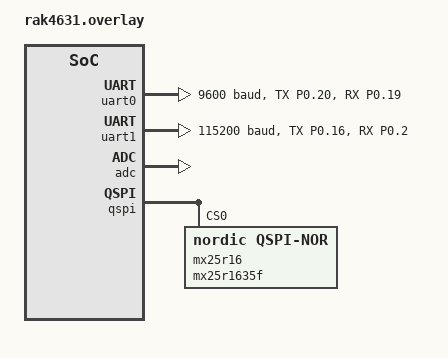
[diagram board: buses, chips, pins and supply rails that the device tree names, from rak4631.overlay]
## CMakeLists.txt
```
cmake_minimum_required(VERSION 3.20.0)
find_package(Zephyr REQUIRED HINTS $ENV{ZEPHYR_BASE})
project(kc_firmware)

target_sources(app PRIVATE
    src/main.c
    src/modbus.c
    src/rs485.c
    src/registers.c
    src/drivers.c
    src/lora.c
    src/sensor.c
    src/sensor2.c
)
```

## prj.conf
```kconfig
CONFIG_GPIO=y
CONFIG_ADC=y
CONFIG_SERIAL=y
CONFIG_CONSOLE=y
CONFIG_UART_CONSOLE=y
CONFIG_UART_INTERRUPT_DRIVEN=y
CONFIG_PRINTK=y

CONFIG_FLASH=y
CONFIG_NORDIC_QSPI_NOR=y
CONFIG_NORDIC_QSPI_NOR_FLASH_LAYOUT_PAGE_SIZE=4096
```

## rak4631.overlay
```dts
/*
 * KC Firmware - RAK4631 Overlay
 * Debug UART (uart1): TX=P0.16 (RX→P0.02 dummy, P0.15=LED_EN)
 * RS485 (uart0): TX=P0.20, RX=P0.19, DE=P1.04, RE#=P1.03
 * QSPI Flash: MX25R1635F
 */

/ {
	chosen {
		zephyr,console = &uart1;
	};
};

&uart0 {
	compatible = "nordic,nrf-uarte";
	status = "okay";
	current-speed = <9600>;
	pinctrl-0 = <&uart0_default>;
	pinctrl-1 = <&uart0_sleep>;
	pinctrl-names = "default", "sleep";
};

&uart1 {
	compatible = "nordic,nrf-uarte";
	status = "okay";
	current-speed = <115200>;
	pinctrl-0 = <&uart1_default>;
	pinctrl-1 = <&uart1_sleep>;
	pinctrl-names = "default", "sleep";
};

&adc {
	status = "okay";
};

&qspi {
	status = "okay";
	pinctrl-0 = <&qspi_default>;
	pinctrl-1 = <&qspi_sleep>;
	pinctrl-names = "default", "sleep";

	mx25r16: mx25r1635f@0 {
		compatible = "nordic,qspi-nor";
		reg = <0>;
		sck-frequency = <8000000>;
		jedec-id = [c2 28 15];
		size = <16777216>;
		has-dpd;
		t-enter-dpd = <10000>;
		t-exit-dpd = <35000>;
	};
};

&pinctrl {
	uart0_default: uart0_default {
		group1 {
			psels = <NRF_PSEL(UART_TX, 0, 20)>;
		};
		group2 {
			psels = <NRF_PSEL(UART_RX, 0, 19)>;
			bias-pull-up;
		};
	};

	uart0_sleep: uart0_sleep {
		group1 {
			psels = <NRF_PSEL(UART_TX, 0, 20)>,
				<NRF_PSEL(UART_RX, 0, 19)>;
			low-power-enable;
		};
	};

	uart1_default: uart1_default {
		group1 {
			psels = <NRF_PSEL(UART_TX, 0, 16)>;
		};
		group2 {
			psels = <NRF_PSEL(UART_RX, 0, 2)>;
			bias-pull-up;
		};
	};

	uart1_sleep: uart1_sleep {
		group1 {
			psels = <NRF_PSEL(UART_TX, 0, 16)>,
				<NRF_PSEL(UART_RX, 0, 2)>;
			low-power-enable;
		};
	};
};
```

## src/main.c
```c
#include <zephyr/kernel.h>
#include "rs485.h"
#include "modbus.h"
#include "registers.h"
#include "drivers.h"
#include "lora.h"
#include "sensor.h"
#include "sensor2.h"

int main(void)
{
	uint8_t frame[MODBUS_MAX_FRAME];
	int len;

	printk("\n========================================\n");
	printk("  KC Certification Firmware v1.0\n");
	printk("  REVITA_LINK_v1 / RAK4631\n");
	printk("========================================\n");
	printk("  RS485: 9600 bps (Modbus RTU Slave)\n");
	printk("  LoRa:  922.1 MHz (End Device RX)\n");
	printk("  Slave Address: 0x10\n");
	printk("  Sensor Address: 0x01 (Temp/Humi)\n");
	printk("========================================\n\n");

	/* Init drivers */
	if (drv_init() < 0) {
		printk("Driver init failed\n");
		return -1;
	}

	/* Init registers */
	reg_init();

	/* Init RS485 */
	if (rs485_init() < 0) {
		printk("RS485 init failed\n");
		return -1;
	}

	/* 12V 센서 전원 ON */
	drv_12v_set(true);
	printk("12V supply ON (sensor power)\n");
	k_sleep(K_SECONDS(3));  /* 센서 안정화 3초 */

	/* Init Sensors */
	sensor_init();
	sensor2_init();

	/* Init LoRa */
	if (lora_module_init() < 0) {
		printk("LoRa init failed (continuing without LoRa)\n");
	} else {
		/* Auto-start RX */
		lora_rx_start();
	}

	/* Initial GPIO read for debug */
	printk("BTN(P0.05) initial: %d\n", drv_btn_read());
	printk("VIB(P0.21) initial: %d\n", drv_vib_read());
	printk("\nReady. Waiting for Modbus commands...\n\n");

	uint32_t loop_count = 0;
	int64_t next_sensor_read = k_uptime_get() + 2000;
	int64_t last_host_cmd = 0;  /* 마지막 Host 명령 시각 */

	while (1) {
		/* Receive Modbus frame (100ms timeout) */
		len = rs485_receive(frame, sizeof(frame), 100);
		if (len > 0) {
			modbus_process_frame(frame, len);
			last_host_cmd = k_uptime_get();
			/* Host 명령 후 센서 읽기 지연 (충돌 방지) */
			next_sensor_read = last_host_cmd + 2000;
		}

		/* Update sensor readings & timers */
		reg_update_sensors();

		/* Update LoRa status */
		reg_update_lora();

		/* 주기적 외부 센서 읽기
		 * 조건: Host 명령 후 2초 이상 경과 시에만 */
		int64_t now = k_uptime_get();
		if (now >= next_sensor_read &&
		    (now - last_host_cmd) >= 2000) {
			sensor_read();
			reg_update_sensor();
			k_sleep(K_MSEC(100));  /* 버스 안정화 */
			sensor2_read();
			reg_update_sensor2();
			next_sensor_read = now + SENSOR_READ_INTERVAL_MS;
		}

		/* LED blink tick (~100ms) */
		drv_led_tick();

		/* 10초마다 상태 출력 (디버그) */
		loop_count++;
		if (loop_count % 100 == 0) {
			const struct sensor_data *sd = sensor_get_data();
			printk("[DBG] BTN=%d VIB=%d | Soil: %d.%d%% %d.%dC EC=%d (st=%d)\n",
			       drv_btn_read(), drv_vib_read(),
			       sd->mois_raw / 10, sd->mois_raw % 10,
			       sd->temp_raw / 10,
			       (sd->temp_raw < 0 ? -sd->temp_raw : sd->temp_raw) % 10,
			       sd->ec_raw, sd->status);
		}
	}

	return 0;
}
```

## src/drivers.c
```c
#include "drivers.h"
#include <zephyr/kernel.h>
#include <zephyr/device.h>
#include <zephyr/drivers/gpio.h>
#include <zephyr/drivers/adc.h>
#include <zephyr/drivers/flash.h>
#include <string.h>

/* Pin definitions */
#define PIN_12V_EN      17  /* P0.17 */
#define PIN_BUZZER_EN   24  /* P0.24 */
#define PIN_LED_EN      15  /* P0.15 */
#define PIN_BTN          5  /* P0.05 */
#define PIN_VIB_SENSE   21  /* P0.21 */

/* X axis motor (gpio0) */
#define PIN_X_EN_A      14  /* P0.14 */
#define PIN_X_EN_B      13  /* P0.13 */

/* Y axis motor */
#define PIN_Y_EN_A      25  /* P0.25 - gpio0 */
#define PIN_Y_EN_B       1  /* P1.01 - gpio1 */

/* ADC */
#define ADC_CHANNEL      7  /* AIN7 = P0.31 */

static const struct device *gpio0;
static const struct device *gpio1;
static const struct device *adc_dev;
static const struct device *flash_dev;

static uint16_t led_mode;
static uint8_t led_blink_counter;

/* ADC config */
static int16_t adc_buffer;
static struct adc_channel_cfg adc_cfg = {
	.gain = ADC_GAIN_1_6,
	.reference = ADC_REF_INTERNAL,
	.acquisition_time = ADC_ACQ_TIME(ADC_ACQ_TIME_MICROSECONDS, 40),
	.channel_id = ADC_CHANNEL,
	.input_positive = SAADC_CH_PSELP_PSELP_AnalogInput7,
};
static struct adc_sequence adc_seq = {
	.channels = BIT(ADC_CHANNEL),
	.buffer = &adc_buffer,
	.buffer_size = sizeof(adc_buffer),
	.resolution = 12,
};

int drv_init(void)
{
	/* GPIO0 */
	gpio0 = DEVICE_DT_GET(DT_NODELABEL(gpio0));
	if (!device_is_ready(gpio0)) {
		printk("ERROR: gpio0 not ready\n");
		return -1;
	}

	/* GPIO1 */
	gpio1 = DEVICE_DT_GET(DT_NODELABEL(gpio1));
	if (!device_is_ready(gpio1)) {
		printk("ERROR: gpio1 not ready\n");
		return -1;
	}

	/* Output pins */
	gpio_pin_configure(gpio0, PIN_12V_EN, GPIO_OUTPUT_LOW);
	gpio_pin_configure(gpio0, PIN_BUZZER_EN, GPIO_OUTPUT_LOW);
	gpio_pin_configure(gpio0, PIN_LED_EN, GPIO_OUTPUT_LOW);

	/* Motor X */
	gpio_pin_configure(gpio0, PIN_X_EN_A, GPIO_OUTPUT_LOW);
	gpio_pin_configure(gpio0, PIN_X_EN_B, GPIO_OUTPUT_LOW);

	/* Motor Y */
	gpio_pin_configure(gpio0, PIN_Y_EN_A, GPIO_OUTPUT_LOW);
	gpio_pin_configure(gpio1, PIN_Y_EN_B, GPIO_OUTPUT_LOW);

	/* Input pins */
	gpio_pin_configure(gpio0, PIN_BTN, GPIO_INPUT | GPIO_PULL_DOWN);
	gpio_pin_configure(gpio0, PIN_VIB_SENSE, GPIO_INPUT | GPIO_PULL_UP);

	/* ADC */
	adc_dev = DEVICE_DT_GET(DT_NODELABEL(adc));
	if (!device_is_ready(adc_dev)) {
		printk("WARN: ADC not ready\n");
		adc_dev = NULL;
	} else {
		adc_channel_setup(adc_dev, &adc_cfg);
	}

	/* Flash */
	flash_dev = DEVICE_DT_GET(DT_NODELABEL(mx25r16));
	if (!device_is_ready(flash_dev)) {
		printk("WARN: Flash not ready\n");
		flash_dev = NULL;
	}

	printk("Drivers initialized\n");
	return 0;
}

void drv_12v_set(bool on)
{
	gpio_pin_set_raw(gpio0, PIN_12V_EN, on ? 1 : 0);
}

void drv_buzzer_set(bool on)
{
	gpio_pin_set_raw(gpio0, PIN_BUZZER_EN, on ? 1 : 0);
}

void drv_led_set(uint16_t mode)
{
	led_mode = mode;
	led_blink_counter = 0;

	switch (mode) {
	case 0:
		gpio_pin_set_raw(gpio0, PIN_LED_EN, 0);
		break;
	case 1:
		gpio_pin_set_raw(gpio0, PIN_LED_EN, 1);
		break;
	default:
		break;
	}
}

void drv_led_tick(void)
{
	if (led_mode < 2) {
		return;
	}

	led_blink_counter++;

	if (led_mode == 2) {
		/* 1박자 점멸: 500ms ON / 500ms OFF */
		if (led_blink_counter >= 5) {
			gpio_pin_toggle(gpio0, PIN_LED_EN);
			led_blink_counter = 0;
		}
	} else if (led_mode == 3) {
		/* 2박자 점멸: 200ms ON / 200ms OFF / 200ms ON / 600ms OFF */
		uint8_t pos = led_blink_counter % 12;
		if (pos == 0) {
			gpio_pin_set_raw(gpio0, PIN_LED_EN, 1);
		} else if (pos == 2) {
			gpio_pin_set_raw(gpio0, PIN_LED_EN, 0);
		} else if (pos == 4) {
			gpio_pin_set_raw(gpio0, PIN_LED_EN, 1);
		} else if (pos == 6) {
			gpio_pin_set_raw(gpio0, PIN_LED_EN, 0);
		}
	}
}

void drv_valve_cw(bool is_x)
{
	if (is_x) {
		gpio_pin_set_raw(gpio0, PIN_X_EN_B, 0);
		gpio_pin_set_raw(gpio0, PIN_X_EN_A, 1);
	} else {
		gpio_pin_set_raw(gpio1, PIN_Y_EN_B, 0);
		gpio_pin_set_raw(gpio0, PIN_Y_EN_A, 1);
	}
}

void drv_valve_ccw(bool is_x)
{
	if (is_x) {
		gpio_pin_set_raw(gpio0, PIN_X_EN_A, 0);
		gpio_pin_set_raw(gpio0, PIN_X_EN_B, 1);
	} else {
		gpio_pin_set_raw(gpio0, PIN_Y_EN_A, 0);
		gpio_pin_set_raw(gpio1, PIN_Y_EN_B, 1);
	}
}

void drv_valve_stop(bool is_x)
{
	if (is_x) {
		gpio_pin_set_raw(gpio0, PIN_X_EN_A, 0);
		gpio_pin_set_raw(gpio0, PIN_X_EN_B, 0);
	} else {
		gpio_pin_set_raw(gpio0, PIN_Y_EN_A, 0);
		gpio_pin_set_raw(gpio1, PIN_Y_EN_B, 0);
	}
}

int drv_btn_read(void)
{
	return gpio_pin_get_raw(gpio0, PIN_BTN);
}

int drv_vib_read(void)
{
	/* Active low: 진동 시 LOW */
	return gpio_pin_get_raw(gpio0, PIN_VIB_SENSE) ? 0 : 1;
}

int32_t drv_adc_read_mv(void)
{
	if (adc_dev == NULL) {
		return -1;
	}

	int ret = adc_read(adc_dev, &adc_seq);
	if (ret < 0) {
		return -1;
	}

	/* Gain 1/6, Ref 0.6V → full scale 3.6V, × 2 for voltage divider */
	int32_t adc_mv = (adc_buffer * 3600) / 4096;
	return adc_mv * 2;
}

int drv_flash_self_test(void)
{
	if (flash_dev == NULL) {
		return -1;
	}

	uint8_t write_buf[256];
	uint8_t read_buf[256];
	uint32_t offset = 0x1FF000; /* Last 4KB sector */

	for (int i = 0; i < 256; i++) {
		write_buf[i] = (uint8_t)(i ^ 0xA5);
	}

	if (flash_erase(flash_dev, offset, 4096) < 0) {
		return -1;
	}
	if (flash_write(flash_dev, offset, write_buf, 256) < 0) {
		return -1;
	}
	if (flash_read(flash_dev, offset, read_buf, 256) < 0) {
		return -1;
	}
	if (memcmp(write_buf, read_buf, 256) != 0) {
		return -1;
	}

	flash_erase(flash_dev, offset, 4096);
	return 0;
}
```

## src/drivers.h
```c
#ifndef DRIVERS_H
#define DRIVERS_H

#include <stdint.h>
#include <stdbool.h>

int drv_init(void);

/* GPIO Output */
void drv_12v_set(bool on);
void drv_buzzer_set(bool on);
void drv_led_set(uint16_t mode);  /* 0=OFF, 1=ON, 2=blink1, 3=blink2 */
void drv_led_tick(void);          /* call every 100ms for blink */

/* Valve */
void drv_valve_cw(bool is_x);    /* Open */
void drv_valve_ccw(bool is_x);   /* Close */
void drv_valve_stop(bool is_x);

/* GPIO Input */
int drv_btn_read(void);
int drv_vib_read(void);

/* ADC */
int32_t drv_adc_read_mv(void);   /* returns battery mV or -1 */

/* Flash */
int drv_flash_self_test(void);    /* returns 0=PASS, -1=FAIL */

#endif
```

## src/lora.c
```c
/*
 * LoRa End Device - RX module
 * Receives encrypted 16-byte frames from Gateway
 */

#include "lora.h"
#include <zephyr/kernel.h>
#include <zephyr/device.h>
#include <zephyr/drivers/lora.h>
#include <hal/nrf_ecb.h>
#include <string.h>

/* AES-128 Key: "REVITA_LORA_KEY1" */
static const uint8_t aes_key[16] = {
	0x52, 0x45, 0x56, 0x49, 0x54, 0x41, 0x5F, 0x4C,
	0x4F, 0x52, 0x41, 0x5F, 0x4B, 0x45, 0x59, 0x31
};

/* AES Nonce: "REVITA_NONCE_001" */
static const uint8_t aes_nonce[16] = {
	0x52, 0x45, 0x56, 0x49, 0x54, 0x41, 0x5F, 0x4E,
	0x4F, 0x4E, 0x43, 0x45, 0x5F, 0x30, 0x30, 0x31
};

/* ECB data block (must be aligned) */
static struct {
	uint8_t key[16];
	uint8_t cleartext[16];
	uint8_t ciphertext[16];
} __attribute__((aligned(4))) ecb_data;

static uint8_t keystream[16];

/* LoRa device */
static const struct device *lora_dev;
static struct lora_status status;
static volatile bool rx_running;

/* RX thread */
#define RX_STACK_SIZE 2048
#define RX_PRIORITY   7
static K_THREAD_STACK_DEFINE(rx_stack, RX_STACK_SIZE);
static struct k_thread rx_thread_data;
static k_tid_t rx_tid;

/* CRC-16 (same polynomial as Modbus: 0xA001) */
static uint16_t crc16(const uint8_t *buf, uint16_t len)
{
	uint16_t crc = 0xFFFF;
	for (uint16_t i = 0; i < len; i++) {
		crc ^= buf[i];
		for (int j = 0; j < 8; j++) {
			if (crc & 1) {
				crc = (crc >> 1) ^ 0xA001;
			} else {
				crc >>= 1;
			}
		}
	}
	return crc;
}

/* Generate AES keystream using nRF ECB hardware */
static void generate_keystream(void)
{
	memcpy(ecb_data.key, aes_key, 16);
	memcpy(ecb_data.cleartext, aes_nonce, 16);

	NRF_ECB->ECBDATAPTR = (uint32_t)&ecb_data;
	NRF_ECB->EVENTS_ENDECB = 0;
	NRF_ECB->EVENTS_ERRORECB = 0;
	NRF_ECB->TASKS_STARTECB = 1;

	while (!NRF_ECB->EVENTS_ENDECB && !NRF_ECB->EVENTS_ERRORECB) {
		/* wait */
	}

	memcpy(keystream, ecb_data.ciphertext, 16);
}

/* XOR decrypt (same as encrypt - symmetric) */
static void crypto_xor(uint8_t *data, uint8_t len)
{
	for (int i = 0; i < len && i < 16; i++) {
		data[i] ^= keystream[i];
	}
}

/* Parse and validate decrypted frame */
static bool parse_frame(const uint8_t *frame)
{
	if (frame[0] != LORA_FRAME_MAGIC) {
		return false;
	}
	if (frame[1] != LORA_FRAME_TYPE_CNT) {
		return false;
	}

	/* Verify app CRC-16 (over bytes 0-11) */
	uint16_t rx_crc = ((uint16_t)frame[12] << 8) | frame[13];
	uint16_t calc_crc = crc16(frame, 12);
	if (rx_crc != calc_crc) {
		return false;
	}

	/* Extract fields */
	status.last_seq = frame[2];
	status.last_count = ((uint32_t)frame[4] << 24) |
			    ((uint32_t)frame[5] << 16) |
			    ((uint32_t)frame[6] << 8) |
			    frame[7];
	status.last_uptime = ((uint32_t)frame[8] << 24) |
			     ((uint32_t)frame[9] << 16) |
			     ((uint32_t)frame[10] << 8) |
			     frame[11];

	return true;
}

/* RX thread function */
static void rx_thread_func(void *p1, void *p2, void *p3)
{
	uint8_t buf[LORA_PAYLOAD_SIZE];
	int16_t rssi;
	int8_t snr;
	int ret;

	printk("[LoRa] RX thread started\n");

	while (rx_running) {
		ret = lora_recv(lora_dev, buf, LORA_PAYLOAD_SIZE,
				K_MSEC(3000), &rssi, &snr);
		if (!rx_running) {
			break;
		}

		if (ret < 0) {
			/* Timeout or error - just retry */
			continue;
		}

		if (ret != LORA_PAYLOAD_SIZE) {
			printk("[LoRa] RX bad len=%d\n", ret);
			status.rx_err_cnt++;
			continue;
		}

		/* Update RF stats */
		status.rssi = rssi;
		status.snr = snr * 10;  /* ×10 for register */

		/* Decrypt */
		crypto_xor(buf, LORA_PAYLOAD_SIZE);

		/* Parse and validate */
		if (parse_frame(buf)) {
			status.rx_cnt++;
			printk("[LoRa] RX #%u seq=%u count=%u uptime=%us RSSI=%d SNR=%d\n",
			       status.rx_cnt, status.last_seq,
			       status.last_count, status.last_uptime,
			       rssi, snr);
		} else {
			status.rx_err_cnt++;
			printk("[LoRa] RX CRC/frame error (RSSI=%d)\n", rssi);
		}
	}

	printk("[LoRa] RX thread stopped\n");
}

int lora_module_init(void)
{
	lora_dev = DEVICE_DT_GET(DT_ALIAS(lora0));
	if (!device_is_ready(lora_dev)) {
		printk("[LoRa] Device not ready!\n");
		return -1;
	}

	/* Generate AES keystream */
	generate_keystream();

	memset(&status, 0, sizeof(status));
	status.freq = 922;  /* 922.1 MHz */
	status.power = LORA_POWER_DEFAULT;

	printk("[LoRa] Module init OK (SX1262)\n");
	return 0;
}

int lora_rx_start(void)
{
	if (rx_running) {
		return 0;
	}

	struct lora_modem_config config = {
		.frequency = LORA_FREQ_DEFAULT,
		.bandwidth = BW_125_KHZ,
		.datarate = LORA_SF_DEFAULT,
		.coding_rate = CR_4_6,
		.preamble_len = LORA_PREAMBLE_LEN,
		.tx_power = LORA_POWER_DEFAULT,
		.tx = false,
		.iq_inverted = false,
		.public_network = false,
	};

	int ret = lora_config(lora_dev, &config);
	if (ret < 0) {
		printk("[LoRa] Config failed: %d\n", ret);
		return ret;
	}

	rx_running = true;
	status.state = 1;  /* RX_LISTENING */

	rx_tid = k_thread_create(&rx_thread_data, rx_stack,
				 K_THREAD_STACK_SIZEOF(rx_stack),
				 rx_thread_func, NULL, NULL, NULL,
				 RX_PRIORITY, 0, K_NO_WAIT);

	printk("[LoRa] RX started (922.1 MHz, SF9, BW125, CR4/6)\n");
	return 0;
}

int lora_rx_stop(void)
{
	if (!rx_running) {
		return 0;
	}

	rx_running = false;
	k_thread_join(&rx_thread_data, K_SECONDS(5));
	status.state = 0;  /* IDLE */

	printk("[LoRa] RX stopped\n");
	return 0;
}

const struct lora_status *lora_get_status(void)
{
	return &status;
}
```

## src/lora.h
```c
#ifndef LORA_H
#define LORA_H

#include <stdint.h>
#include <stdbool.h>

/*
 * LoRa Star Topology - End Device (RX)
 *
 * Frame Structure (16 bytes over-the-air):
 * ┌─────────────────────────────────────────────────────┐
 * │ LoRa PHY: Preamble(8sym) + Header + FEC(CR4/6)     │
 * │ ┌─────────────────────────────────────────────────┐ │
 * │ │ Encrypted Application Payload (16 bytes)        │ │
 * │ │  [0]    Magic: 0xAA                             │ │
 * │ │  [1]    Type:  0x01 (count broadcast)           │ │
 * │ │  [2]    Seq:   0-255                            │ │
 * │ │  [3]    Flags: 0x01 (encrypted)                 │ │
 * │ │  [4-7]  Count (uint32 BE)                       │ │
 * │ │  [8-11] Uptime seconds (uint32 BE)              │ │
 * │ │  [12-13] CRC-16 (bytes 0-11)                    │ │
 * │ │  [14-15] Padding 0x0000                         │ │
 * │ └─────────────────────────────────────────────────┘ │
 * │ LoRa PHY CRC (2 bytes, HW generated)               │
 * └─────────────────────────────────────────────────────┘
 *
 * Encryption: AES-128-CTR-like (nRF52840 ECB HW)
 *   Key = "REVITA_LORA_KEY1" (16 bytes)
 *   Keystream = AES-ECB(Key, Nonce)
 *   Cipher = Plain XOR Keystream
 *
 * Error Protection (3 layers):
 *   1. LoRa FEC: Coding Rate 4/6 (50% redundancy)
 *   2. LoRa HW CRC: 16-bit at PHY layer
 *   3. App CRC-16: integrity after decryption
 */

#define LORA_PAYLOAD_SIZE    16
#define LORA_FRAME_MAGIC     0xAA
#define LORA_FRAME_TYPE_CNT  0x01
#define LORA_FLAG_ENCRYPTED  0x01

/* LoRa parameters */
#define LORA_FREQ_DEFAULT    922100000  /* 922.1 MHz */
#define LORA_BW_DEFAULT      0         /* 125 kHz */
#define LORA_SF_DEFAULT      9
#define LORA_CR_DEFAULT      2         /* 4/6 */
#define LORA_POWER_DEFAULT   14        /* dBm */
#define LORA_PREAMBLE_LEN    8

/* LoRa state */
struct lora_status {
	uint16_t state;       /* 0=IDLE, 1=RX_LISTENING */
	uint16_t freq;        /* MHz code (e.g. 922) */
	int16_t  power;       /* dBm */
	int16_t  rssi;        /* last RSSI dBm */
	int16_t  snr;         /* last SNR x10 */
	uint16_t tx_cnt;
	uint16_t rx_cnt;
	uint16_t rx_err_cnt;  /* CRC fail / decrypt fail */
	uint32_t last_count;  /* received count value */
	uint8_t  last_seq;
	uint32_t last_uptime; /* received uptime seconds */
};

int lora_module_init(void);
int lora_rx_start(void);
int lora_rx_stop(void);
const struct lora_status *lora_get_status(void);

#endif
```

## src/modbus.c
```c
#include "modbus.h"
#include "rs485.h"
#include "registers.h"
#include <zephyr/kernel.h>
#include <string.h>

uint16_t modbus_crc16(const uint8_t *data, uint16_t len)
{
	uint16_t crc = 0xFFFF;
	for (uint16_t i = 0; i < len; i++) {
		crc ^= data[i];
		for (uint8_t j = 0; j < 8; j++) {
			if (crc & 0x0001) {
				crc = (crc >> 1) ^ 0xA001;
			} else {
				crc >>= 1;
			}
		}
	}
	return crc;
}

bool modbus_check_crc(const uint8_t *frame, uint16_t len)
{
	if (len < 4) {
		return false;
	}
	uint16_t calc = modbus_crc16(frame, len - 2);
	uint16_t recv = frame[len - 2] | (frame[len - 1] << 8);
	return calc == recv;
}

void modbus_append_crc(uint8_t *frame, uint16_t len)
{
	uint16_t crc = modbus_crc16(frame, len);
	frame[len] = crc & 0xFF;
	frame[len + 1] = (crc >> 8) & 0xFF;
}

static void send_exception(uint8_t func, uint8_t exception)
{
	uint8_t resp[5];
	resp[0] = MODBUS_SLAVE_ADDR;
	resp[1] = func | 0x80;
	resp[2] = exception;
	modbus_append_crc(resp, 3);
	rs485_send(resp, 5);
	printk("  TX exception: FC=0x%02X EX=0x%02X\n", func, exception);
}

static void handle_read_holding(const uint8_t *frame, uint16_t len)
{
	if (len < 6) {
		return;
	}

	uint16_t start = (frame[2] << 8) | frame[3];
	uint16_t count = (frame[4] << 8) | frame[5];

	if (count == 0 || count > 125) {
		send_exception(FC_READ_HOLDING, EX_ILLEGAL_VALUE);
		return;
	}

	uint8_t resp[5 + 250]; /* header + data + CRC */
	resp[0] = MODBUS_SLAVE_ADDR;
	resp[1] = FC_READ_HOLDING;
	resp[2] = count * 2;

	for (uint16_t i = 0; i < count; i++) {
		int32_t val = reg_read(start + i);
		if (val < 0) {
			send_exception(FC_READ_HOLDING, EX_ILLEGAL_ADDR);
			return;
		}
		resp[3 + i * 2] = (val >> 8) & 0xFF;
		resp[3 + i * 2 + 1] = val & 0xFF;
	}

	uint16_t resp_len = 3 + count * 2;
	modbus_append_crc(resp, resp_len);
	rs485_send(resp, resp_len + 2);

	printk("  TX read resp: start=0x%04X count=%d\n", start, count);
}

static void handle_write_single(const uint8_t *frame, uint16_t len)
{
	if (len < 6) {
		return;
	}

	uint16_t addr = (frame[2] << 8) | frame[3];
	uint16_t value = (frame[4] << 8) | frame[5];

	int ret = reg_write(addr, value);
	if (ret == -1) {
		send_exception(FC_WRITE_SINGLE, EX_ILLEGAL_ADDR);
		return;
	}
	if (ret == -2) {
		send_exception(FC_WRITE_SINGLE, EX_ILLEGAL_VALUE);
		return;
	}

	/* Echo response */
	uint8_t resp[8];
	memcpy(resp, frame, 6);
	resp[0] = MODBUS_SLAVE_ADDR;
	modbus_append_crc(resp, 6);
	rs485_send(resp, 8);

	printk("  TX write resp: addr=0x%04X val=0x%04X\n", addr, value);
}

static void handle_write_multiple(const uint8_t *frame, uint16_t len)
{
	uint16_t start = (frame[2] << 8) | frame[3];
	uint16_t count = (frame[4] << 8) | frame[5];
	uint8_t byte_count = frame[6];

	if (count == 0 || count > 123 || byte_count != count * 2) {
		send_exception(FC_WRITE_MULTIPLE, EX_ILLEGAL_VALUE);
		return;
	}

	if (len < (uint16_t)(7 + byte_count)) {
		return;
	}

	for (uint16_t i = 0; i < count; i++) {
		uint16_t value = (frame[7 + i * 2] << 8) | frame[7 + i * 2 + 1];
		int ret = reg_write(start + i, value);
		if (ret == -1) {
			send_exception(FC_WRITE_MULTIPLE, EX_ILLEGAL_ADDR);
			return;
		}
		if (ret == -2) {
			send_exception(FC_WRITE_MULTIPLE, EX_ILLEGAL_VALUE);
			return;
		}
	}

	/* Response: addr, func, start, count */
	uint8_t resp[8];
	resp[0] = MODBUS_SLAVE_ADDR;
	resp[1] = FC_WRITE_MULTIPLE;
	resp[2] = (start >> 8) & 0xFF;
	resp[3] = start & 0xFF;
	resp[4] = (count >> 8) & 0xFF;
	resp[5] = count & 0xFF;
	modbus_append_crc(resp, 6);
	rs485_send(resp, 8);

	printk("  TX write_multi resp: start=0x%04X count=%d\n", start, count);
}

void modbus_process_frame(const uint8_t *frame, uint16_t len)
{
	/* Print RX frame */
	printk("RX[%d]:", len);
	for (int i = 0; i < len && i < 32; i++) {
		printk(" %02X", frame[i]);
	}
	if (len > 32) {
		printk(" ...");
	}
	printk("\n");

	/* Check minimum length */
	if (len < 4) {
		printk("  Frame too short\n");
		return;
	}

	/* Check slave address */
	if (frame[0] != MODBUS_SLAVE_ADDR) {
		printk("  Wrong addr: 0x%02X\n", frame[0]);
		return;
	}

	/* Check CRC */
	if (!modbus_check_crc(frame, len)) {
		printk("  CRC error\n");
		return;
	}

	/* Dispatch by function code */
	uint8_t func = frame[1];
	switch (func) {
	case FC_READ_HOLDING:
		handle_read_holding(frame, len - 2);
		break;
	case FC_WRITE_SINGLE:
		handle_write_single(frame, len - 2);
		break;
	case FC_WRITE_MULTIPLE:
		handle_write_multiple(frame, len - 2);
		break;
	default:
		send_exception(func, EX_ILLEGAL_FUNC);
		break;
	}
}
```

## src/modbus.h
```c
#ifndef MODBUS_H
#define MODBUS_H

#include <stdint.h>
#include <stdbool.h>

#define MODBUS_SLAVE_ADDR  0x10  /* 0x01은 외부 센서가 사용 */
#define MODBUS_MAX_FRAME   256

/* Function codes */
#define FC_READ_HOLDING    0x03
#define FC_WRITE_SINGLE    0x06
#define FC_WRITE_MULTIPLE  0x10

/* Exception codes */
#define EX_ILLEGAL_FUNC    0x01
#define EX_ILLEGAL_ADDR    0x02
#define EX_ILLEGAL_VALUE   0x03
#define EX_DEVICE_BUSY     0x06

uint16_t modbus_crc16(const uint8_t *data, uint16_t len);
bool modbus_check_crc(const uint8_t *frame, uint16_t len);
void modbus_append_crc(uint8_t *frame, uint16_t len);
void modbus_process_frame(const uint8_t *frame, uint16_t len);

#endif
```

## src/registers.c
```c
#include "registers.h"
#include "drivers.h"
#include "lora.h"
#include "sensor.h"
#include "sensor2.h"
#include <zephyr/kernel.h>

/* Device state */
static struct {
	/* 0x0000~0x0004: Device info */
	uint16_t device_id_h;
	uint16_t device_id_l;
	uint16_t fw_version;
	uint16_t hw_version;
	uint16_t test_mode;

	/* 0x0010~0x0016: Power/Sensors */
	uint16_t bat_voltage;
	uint16_t bat_percent;
	uint16_t vib_status;
	uint16_t vib_count;
	uint16_t btn_status;
	uint16_t supply_12v;
	uint16_t input_changed;  /* 0x0016: bit0=btn_changed, bit1=vib_changed */

	/* Internal: previous state for change detection */
	int prev_btn;
	int prev_vib;

	/* 0x0020~0x0023: Valve */
	uint16_t valve_x_state;
	uint16_t valve_y_state;
	uint16_t valve_x_pin;
	uint16_t valve_y_pin;

	/* 0x0040~0x0041: Output */
	uint16_t buzzer_state;
	uint16_t led_state;

	/* 0x0070~0x0071: Flash */
	uint16_t flash_state;
	uint16_t flash_test;

	/* 0x0080~0x0085: Soil Sensor (moisture/temp/EC) */
	uint16_t sensor_mois;
	int16_t  sensor_temp;
	uint16_t sensor_ec;
	uint16_t sensor_status;
	uint16_t sensor_read_cnt;
	uint16_t sensor_err_cnt;

	/* 0x0090~0x0094: Sensor2 (온습도) */
	uint16_t sensor2_humi;
	int16_t  sensor2_temp;
	uint16_t sensor2_status;
	uint16_t sensor2_read_cnt;
	uint16_t sensor2_err_cnt;

	/* 0x0050~0x005C: LoRa (cached from lora module) */
	uint16_t lora_state;
	uint16_t lora_freq;
	int16_t  lora_power;
	int16_t  lora_rssi;
	int16_t  lora_snr;
	uint16_t lora_tx_cnt;
	uint16_t lora_rx_cnt;
	uint16_t lora_rx_err;
	uint16_t lora_count_hi;
	uint16_t lora_count_lo;
	uint16_t lora_last_seq;
	uint16_t lora_uptime_hi;
	uint16_t lora_uptime_lo;

	/* Timers */
	int64_t buzzer_off_time;
	int64_t valve_x_off_time;
	int64_t valve_y_off_time;
} state;

void reg_init(void)
{
	state.device_id_h = 0x5245;  /* "RE" */
	state.device_id_l = 0x564C;  /* "VL" */
	state.fw_version = 0x0100;   /* v1.0 */
	state.hw_version = 0x0001;
	state.test_mode = 0;
	state.input_changed = 0;
	state.prev_btn = -1;  /* 초기: 미확정 */
	state.prev_vib = -1;
}

int32_t reg_read(uint16_t addr)
{
	switch (addr) {
	/* Device info */
	case 0x0000: return state.device_id_h;
	case 0x0001: return state.device_id_l;
	case 0x0002: return state.fw_version;
	case 0x0003: return state.hw_version;
	case 0x0004: return state.test_mode;

	/* Power/Sensors */
	case 0x0010: return state.bat_voltage;
	case 0x0011: return state.bat_percent;
	case 0x0012: return state.vib_status;
	case 0x0013: return state.vib_count;
	case 0x0014: return state.btn_status;
	case 0x0015: return state.supply_12v;
	case 0x0016: {
		/* 읽으면 플래그 클리어 */
		uint16_t val = state.input_changed;
		state.input_changed = 0;
		return val;
	}

	/* Valve */
	case 0x0020: return state.valve_x_state;
	case 0x0021: return state.valve_y_state;
	case 0x0022: return state.valve_x_pin;
	case 0x0023: return state.valve_y_pin;

	/* Output */
	case 0x0040: return state.buzzer_state;
	case 0x0041: return state.led_state;

	/* Flash */
	case 0x0070: return state.flash_state;
	case 0x0071: return state.flash_test;

	/* Soil Sensor */
	case 0x0080: return state.sensor_mois;
	case 0x0081: return (uint16_t)state.sensor_temp;
	case 0x0082: return state.sensor_ec;
	case 0x0083: return state.sensor_status;
	case 0x0084: return state.sensor_read_cnt;
	case 0x0085: return state.sensor_err_cnt;

	/* Sensor2 (온습도) */
	case 0x0090: return state.sensor2_humi;
	case 0x0091: return (uint16_t)state.sensor2_temp;
	case 0x0092: return state.sensor2_status;
	case 0x0093: return state.sensor2_read_cnt;
	case 0x0094: return state.sensor2_err_cnt;

	/* LoRa status */
	case 0x0050: return state.lora_state;
	case 0x0051: return state.lora_freq;
	case 0x0052: return (uint16_t)state.lora_power;
	case 0x0053: return (uint16_t)state.lora_rssi;
	case 0x0054: return (uint16_t)state.lora_snr;
	case 0x0055: return state.lora_tx_cnt;
	case 0x0056: return state.lora_rx_cnt;
	case 0x0057: return state.lora_rx_err;
	case 0x0058: return state.lora_count_lo;
	case 0x0059: return state.lora_count_hi;
	case 0x005A: return state.lora_last_seq;
	case 0x005B: return state.lora_uptime_lo;
	case 0x005C: return state.lora_uptime_hi;

	default:
		return -1;  /* Illegal address */
	}
}

static void valve_control(const char *axis, uint16_t cmd, uint16_t duration)
{
	bool is_x = (axis[0] == 'x');
	uint16_t *valve_state = is_x ? &state.valve_x_state : &state.valve_y_state;
	uint16_t *valve_pin = is_x ? &state.valve_x_pin : &state.valve_y_pin;
	int64_t *off_time = is_x ? &state.valve_x_off_time : &state.valve_y_off_time;

	switch (cmd) {
	case 0: /* Close */
		drv_valve_ccw(is_x);
		*valve_state = 2; /* 동작중 */
		*valve_pin = 0x02; /* EN_B */
		break;
	case 1: /* Open */
		drv_valve_cw(is_x);
		*valve_state = 2;
		*valve_pin = 0x01; /* EN_A */
		break;
	case 2: /* Stop */
		drv_valve_stop(is_x);
		*valve_state = 0;
		*valve_pin = 0;
		*off_time = 0;
		return;
	default:
		return;
	}

	if (duration > 0) {
		*off_time = k_uptime_get() + (int64_t)duration * 1000;
	} else {
		*off_time = 0;
	}

	/* 12V auto enable */
	drv_12v_set(true);
	state.supply_12v = 1;
}

static void all_stop(void)
{
	drv_valve_stop(true);
	drv_valve_stop(false);
	drv_buzzer_set(false);
	drv_led_set(0);
	drv_12v_set(false);

	state.valve_x_state = 0;
	state.valve_y_state = 0;
	state.valve_x_pin = 0;
	state.valve_y_pin = 0;
	state.buzzer_state = 0;
	state.led_state = 0;
	state.supply_12v = 0;
	state.buzzer_off_time = 0;
	state.valve_x_off_time = 0;
	state.valve_y_off_time = 0;

	printk("  ALL STOP\n");
}

int reg_write(uint16_t addr, uint16_t value)
{
	switch (addr) {
	/* Valve X */
	case 0x0100:
		valve_control("x", value, 0);
		return 0;
	case 0x0101: /* X duration - handled via 0x10 with 0x0100 */
		return 0;
	case 0x0102:
		valve_control("y", value, 0);
		return 0;
	case 0x0103: /* Y duration */
		return 0;

	/* Buzzer */
	case 0x0120:
		if (value == 0) {
			drv_buzzer_set(false);
			state.buzzer_state = 0;
			state.buzzer_off_time = 0;
		} else if (value == 0xFFFF) {
			drv_12v_set(true);
			state.supply_12v = 1;
			drv_buzzer_set(true);
			state.buzzer_state = 1;
			state.buzzer_off_time = 0;
		} else {
			drv_12v_set(true);
			state.supply_12v = 1;
			drv_buzzer_set(true);
			state.buzzer_state = 1;
			state.buzzer_off_time = k_uptime_get() + (int64_t)value * 1000;
		}
		printk("  Buzzer: %s (duration=%u)\n",
		       value ? "ON" : "OFF", value);
		return 0;

	/* LED */
	case 0x0121:
		drv_led_set(value);
		state.led_state = value;
		printk("  LED: mode=%u\n", value);
		return 0;

	/* 12V */
	case 0x0122:
		drv_12v_set(value != 0);
		state.supply_12v = value ? 1 : 0;
		printk("  12V: %s\n", value ? "ON" : "OFF");
		return 0;

	/* Flash test */
	case 0x0150:
		if (value == 2) {
			printk("  Flash self-test...\n");
			int ret = drv_flash_self_test();
			state.flash_test = (ret == 0) ? 1 : 2;
			printk("  Flash result: %s\n",
			       state.flash_test == 1 ? "PASS" : "FAIL");
		}
		return 0;

	/* LoRa control */
	case 0x0130:
		if (value == 0) {
			lora_rx_stop();
			printk("  LoRa: STOP\n");
		} else if (value == 4) {
			lora_rx_start();
			printk("  LoRa: RX START\n");
		}
		return 0;

	/* ALL STOP */
	case 0x01F0:
		if (value == 1) {
			all_stop();
		}
		return 0;

	/* Test mode */
	case 0x01FF:
		state.test_mode = value ? 1 : 0;
		if (state.test_mode) {
			printk("  === TEST MODE ENTER ===\n");
		} else {
			all_stop();
			printk("  === TEST MODE EXIT ===\n");
		}
		return 0;

	default:
		return -1;  /* Illegal address */
	}
}

void reg_update_sensors(void)
{
	int64_t now = k_uptime_get();

	/* ADC */
	int32_t mv = drv_adc_read_mv();
	if (mv >= 0) {
		state.bat_voltage = mv;
		/* LiFePO4 1S: 2.5V~3.6V */
		if (mv >= 3600) {
			state.bat_percent = 100;
		} else if (mv <= 2500) {
			state.bat_percent = 0;
		} else {
			state.bat_percent = (mv - 2500) * 100 / 1100;
		}
	}

	/* Button — 변화 감지 */
	int btn_cur = drv_btn_read();
	if (state.prev_btn >= 0 && btn_cur != state.prev_btn) {
		state.input_changed |= 0x01;  /* bit0: btn changed */
		printk("  BTN changed: %d -> %d\n", state.prev_btn, btn_cur);
	}
	state.prev_btn = btn_cur;
	state.btn_status = btn_cur;

	/* Vibration — 변화 감지 */
	int vib_cur = drv_vib_read();
	if (state.prev_vib >= 0 && vib_cur != state.prev_vib) {
		state.input_changed |= 0x02;  /* bit1: vib changed */
		if (vib_cur) {
			state.vib_count++;
		}
		printk("  VIB changed: %d -> %d (count=%d)\n",
		       state.prev_vib, vib_cur, state.vib_count);
	}
	state.prev_vib = vib_cur;
	state.vib_status = vib_cur;

	/* Buzzer auto-off */
	if (state.buzzer_off_time > 0 && now >= state.buzzer_off_time) {
		drv_buzzer_set(false);
		state.buzzer_state = 0;
		state.buzzer_off_time = 0;
		printk("  Buzzer auto-off\n");
	}

	/* Valve X auto-stop */
	if (state.valve_x_off_time > 0 && now >= state.valve_x_off_time) {
		drv_valve_stop(true);
		state.valve_x_state = 0;
		state.valve_x_pin = 0;
		state.valve_x_off_time = 0;
		printk("  Valve X auto-stop\n");
	}

	/* Valve Y auto-stop */
	if (state.valve_y_off_time > 0 && now >= state.valve_y_off_time) {
		drv_valve_stop(false);
		state.valve_y_state = 0;
		state.valve_y_pin = 0;
		state.valve_y_off_time = 0;
		printk("  Valve Y auto-stop\n");
	}
}

void reg_update_sensor(void)
{
	const struct sensor_data *sd = sensor_get_data();
	state.sensor_mois = sd->mois_raw;
	state.sensor_temp = sd->temp_raw;
	state.sensor_ec = sd->ec_raw;
	state.sensor_status = sd->status;
	state.sensor_read_cnt = sd->read_count;
	state.sensor_err_cnt = sd->err_count;
}

void reg_update_sensor2(void)
{
	const struct sensor2_data *sd = sensor2_get_data();
	state.sensor2_humi = sd->humi_raw;
	state.sensor2_temp = sd->temp_raw;
	state.sensor2_status = sd->status;
	state.sensor2_read_cnt = sd->read_count;
	state.sensor2_err_cnt = sd->err_count;
}

void reg_update_lora(void)
{
	const struct lora_status *ls = lora_get_status();
	state.lora_state = ls->state;
	state.lora_freq = ls->freq;
	state.lora_power = ls->power;
	state.lora_rssi = ls->rssi;
	state.lora_snr = ls->snr;
	state.lora_tx_cnt = ls->tx_cnt;
	state.lora_rx_cnt = ls->rx_cnt;
	state.lora_rx_err = ls->rx_err_cnt;
	state.lora_count_hi = (uint16_t)(ls->last_count >> 16);
	state.lora_count_lo = (uint16_t)(ls->last_count & 0xFFFF);
	state.lora_last_seq = ls->last_seq;
	state.lora_uptime_hi = (uint16_t)(ls->last_uptime >> 16);
	state.lora_uptime_lo = (uint16_t)(ls->last_uptime & 0xFFFF);
}
```

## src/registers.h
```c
#ifndef REGISTERS_H
#define REGISTERS_H

#include <stdint.h>

void reg_init(void);
int32_t reg_read(uint16_t addr);
int reg_write(uint16_t addr, uint16_t value);
void reg_update_sensors(void);
void reg_update_sensor(void);
void reg_update_sensor2(void);
void reg_update_lora(void);

#endif
```

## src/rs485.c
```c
#include "rs485.h"
#include <zephyr/kernel.h>
#include <zephyr/device.h>
#include <zephyr/drivers/uart.h>
#include <zephyr/drivers/gpio.h>

/* RS485 DE: P1.04, RE#: P1.03 */
#define PIN_RS485_DE  4
#define PIN_RS485_RE  3

/* Frame timeout: 3.5 char @ 9600bps = ~4ms, use 5ms */
#define FRAME_TIMEOUT_MS  5

static const struct device *uart_dev;
static const struct device *gpio1;

static uint8_t rx_buf[256];
static volatile uint16_t rx_pos;
static struct k_sem rx_sem;
static volatile int64_t last_rx_time;

static void rx_mode(void)
{
	gpio_pin_set_raw(gpio1, PIN_RS485_DE, 0);
	gpio_pin_set_raw(gpio1, PIN_RS485_RE, 0);
}

static void tx_mode(void)
{
	gpio_pin_set_raw(gpio1, PIN_RS485_DE, 1);
	gpio_pin_set_raw(gpio1, PIN_RS485_RE, 1);
}

static void uart_cb(const struct device *dev, void *user_data)
{
	uint8_t c;

	if (!uart_irq_update(dev)) {
		return;
	}

	while (uart_irq_rx_ready(dev)) {
		if (uart_fifo_read(dev, &c, 1) == 1) {
			if (rx_pos < sizeof(rx_buf)) {
				rx_buf[rx_pos++] = c;
				last_rx_time = k_uptime_get();
			}
		}
	}
}

int rs485_init(void)
{
	/* GPIO1 for DE/RE# */
	gpio1 = DEVICE_DT_GET(DT_NODELABEL(gpio1));
	if (!device_is_ready(gpio1)) {
		printk("ERROR: gpio1 not ready\n");
		return -1;
	}
	gpio_pin_configure(gpio1, PIN_RS485_DE, GPIO_OUTPUT_LOW);
	gpio_pin_configure(gpio1, PIN_RS485_RE, GPIO_OUTPUT_LOW);

	/* UART0 for RS485 */
	uart_dev = DEVICE_DT_GET(DT_NODELABEL(uart0));
	if (!device_is_ready(uart_dev)) {
		printk("ERROR: uart0 not ready\n");
		return -1;
	}

	k_sem_init(&rx_sem, 0, 1);
	rx_pos = 0;
	last_rx_time = 0;

	uart_irq_callback_set(uart_dev, uart_cb);
	uart_irq_rx_enable(uart_dev);
	rx_mode();

	return 0;
}

void rs485_send(const uint8_t *data, uint16_t len)
{
	tx_mode();
	k_busy_wait(100);

	for (uint16_t i = 0; i < len; i++) {
		uart_poll_out(uart_dev, data[i]);
	}

	/* uart_poll_out은 바이트 전송 완료까지 대기하므로
	 * 마지막 바이트 stop bit + 여유만 필요 */
	k_busy_wait(1200);
	rx_mode();
}

void rs485_flush_rx(void)
{
	uart_irq_rx_disable(uart_dev);
	rx_pos = 0;
	last_rx_time = 0;
	uart_irq_rx_enable(uart_dev);
}

int rs485_set_baudrate(uint32_t baud)
{
	struct uart_config cfg;
	int ret;

	ret = uart_config_get(uart_dev, &cfg);
	if (ret < 0) {
		return ret;
	}

	cfg.baudrate = baud;
	uart_irq_rx_disable(uart_dev);
	ret = uart_configure(uart_dev, &cfg);
	rx_pos = 0;
	uart_irq_rx_enable(uart_dev);

	return ret;
}

int rs485_receive(uint8_t *buf, uint16_t max_len, uint16_t timeout_ms)
{
	int64_t start = k_uptime_get();

	/* Wait for first byte or timeout */
	while (rx_pos == 0) {
		if (k_uptime_get() - start > timeout_ms) {
			return 0;
		}
		k_sleep(K_MSEC(1));
	}

	/* Wait for frame complete (silence > FRAME_TIMEOUT_MS) */
	while (1) {
		k_sleep(K_MSEC(1));
		int64_t now = k_uptime_get();

		if (now - last_rx_time >= FRAME_TIMEOUT_MS && rx_pos > 0) {
			break;
		}
		if (now - start > timeout_ms) {
			break;
		}
	}

	/* Copy frame */
	uart_irq_rx_disable(uart_dev);
	uint16_t len = rx_pos;
	if (len > max_len) {
		len = max_len;
	}
	memcpy(buf, (const void *)rx_buf, len);
	rx_pos = 0;
	uart_irq_rx_enable(uart_dev);

	return len;
}
```

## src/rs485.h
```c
#ifndef RS485_H
#define RS485_H

#include <stdint.h>

int rs485_init(void);
void rs485_send(const uint8_t *data, uint16_t len);
int rs485_receive(uint8_t *buf, uint16_t max_len, uint16_t timeout_ms);
int rs485_set_baudrate(uint32_t baud);
void rs485_flush_rx(void);

#endif
```

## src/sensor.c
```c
/*
 * ZTS-3000 Soil Sensor - Modbus RTU Master
 * 9600bps로 센서(addr 0x01)에서 수분/온도/EC 읽기
 * Host 통신도 9600bps이므로 보레이트 전환 불필요
 */

#include "sensor.h"
#include "rs485.h"
#include "modbus.h"
#include <zephyr/kernel.h>
#include <string.h>

static struct sensor_data sdata;

int sensor_init(void)
{
	memset(&sdata, 0, sizeof(sdata));
	sdata.status = 0;
	return 0;
}

int sensor_read(void)
{
	uint8_t req[8];
	uint8_t resp[32];
	int len;

	/* Build FC 0x03: read 3 registers from 0x0000 */
	req[0] = SENSOR_ADDR;
	req[1] = FC_READ_HOLDING;
	req[2] = (SENSOR_REG_START >> 8) & 0xFF;
	req[3] = SENSOR_REG_START & 0xFF;
	req[4] = (SENSOR_REG_COUNT >> 8) & 0xFF;
	req[5] = SENSOR_REG_COUNT & 0xFF;
	modbus_append_crc(req, 6);

	/* Send request */
	rs485_send(req, 8);
	k_sleep(K_MSEC(2));   /* TX→RX 전환 안정화 */
	rs485_flush_rx();     /* 전환 노이즈 제거 */

	/* Wait for response
	 * Expected: [addr][func][byte_cnt=6][mois_h][mois_l][temp_h][temp_l][ec_h][ec_l][crc_l][crc_h]
	 * = 11 bytes
	 */
	len = rs485_receive(resp, sizeof(resp), 500);

	if (len < 11) {
		sdata.status = 0;
		sdata.err_count++;
		printk("[SENSOR] No response (len=%d)", len);
		if (len > 0) {
			printk(" RX:");
			for (int i = 0; i < len; i++) printk(" %02X", resp[i]);
		}
		printk("\n");
		return -1;
	}

	/* Verify address and function code */
	if (resp[0] != SENSOR_ADDR || resp[1] != FC_READ_HOLDING) {
		if (resp[1] & 0x80) {
			printk("[SENSOR] Exception: 0x%02X\n", resp[2]);
		} else {
			printk("[SENSOR] Bad resp: addr=0x%02X func=0x%02X\n",
			       resp[0], resp[1]);
		}
		sdata.status = 2;
		sdata.err_count++;
		return -2;
	}

	/* Verify CRC */
	if (!modbus_check_crc(resp, len)) {
		printk("[SENSOR] CRC error\n");
		sdata.status = 2;
		sdata.err_count++;
		return -3;
	}

	/* Verify byte count (3 regs × 2 = 6 bytes) */
	if (resp[2] != SENSOR_REG_COUNT * 2) {
		printk("[SENSOR] Bad byte count: %d\n", resp[2]);
		sdata.status = 2;
		sdata.err_count++;
		return -4;
	}

	/* Parse:
	 * resp[3-4] = Moisture (uint16, /10 = %)
	 * resp[5-6] = Temperature (int16, /10 = °C)
	 * resp[7-8] = EC (uint16, us/cm)
	 */
	sdata.mois_raw = (resp[3] << 8) | resp[4];
	sdata.temp_raw = (int16_t)((resp[5] << 8) | resp[6]);
	sdata.ec_raw = (resp[7] << 8) | resp[8];
	sdata.status = 1;
	sdata.read_count++;

	int t_int = sdata.temp_raw / 10;
	int t_dec = (sdata.temp_raw < 0 ? -sdata.temp_raw : sdata.temp_raw) % 10;
	printk("[SENSOR] Mois=%d.%d%%  Temp=%d.%dC  EC=%dus/cm\n",
	       sdata.mois_raw / 10, sdata.mois_raw % 10,
	       t_int, t_dec, sdata.ec_raw);

	return 0;
}

const struct sensor_data *sensor_get_data(void)
{
	return &sdata;
}
```

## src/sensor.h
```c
#ifndef SENSOR_H
#define SENSOR_H

#include <stdint.h>

/*
 * ZTS-3000-TR-ECWS-N01 Soil Sensor (Modbus RTU Slave)
 * 토양 온도 / 수분 / 전기전도도 (EC) 3-in-1
 *
 * Protocol:
 *   Address: 0x01, Baud: 9600 bps, 8N1
 *   FC 0x03: Read Holding Registers
 *   Register 0x0000: Moisture (uint16, /10 = %)
 *   Register 0x0001: Temperature (int16, /10 = °C)
 *   Register 0x0002: EC conductivity (uint16, us/cm)
 *
 * Example:
 *   TX: 01 03 00 00 00 03 05 CB
 *   RX: 01 03 06 01 64 FF DD 04 D2 73 DF
 *     → Moisture:    0x0164 = 356 → 35.6%
 *     → Temperature: 0xFFDD = -35 → -3.5°C
 *     → EC:          0x04D2 = 1234 us/cm
 */

#define SENSOR_ADDR        0x01
#define SENSOR_REG_START   0x0000
#define SENSOR_REG_COUNT   3      /* moisture + temperature + EC */
#define SENSOR_READ_INTERVAL_MS  5000  /* 5초 간격 */

struct sensor_data {
	uint16_t mois_raw;    /* 토양 수분 (unsigned, /10 = %) */
	int16_t  temp_raw;    /* 온도 (signed, /10 = °C) */
	uint16_t ec_raw;      /* 전기전도도 (us/cm) */
	uint16_t status;      /* 0=offline, 1=OK, 2=CRC error */
	uint16_t read_count;  /* 성공 읽기 횟수 */
	uint16_t err_count;   /* 오류 횟수 */
};

int sensor_init(void);
int sensor_read(void);
const struct sensor_data *sensor_get_data(void);

#endif
```
